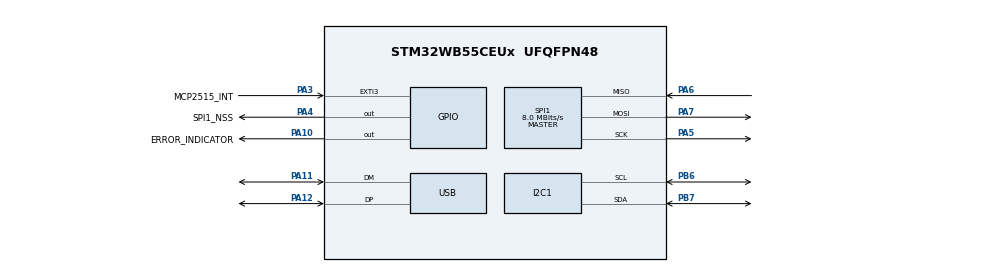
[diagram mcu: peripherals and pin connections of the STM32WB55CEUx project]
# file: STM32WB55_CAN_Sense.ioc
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I2C1.Timing=0x10B17DB5
Mcu.Family=STM32WB
Mcu.Name=STM32WB55CEUx
Mcu.Package=UFQFPN48
NVIC.EXTI3_IRQn=true\:2\:0\:true\:false\:true\:true\:true\:true
NVIC.PriorityGroup=NVIC_PRIORITYGROUP_4
NVIC.TIM1_UP_TIM16_IRQn=true\:0\:0\:false\:false\:true\:true\:true\:true
NVIC.USB_LP_IRQn=true\:0\:0\:false\:false\:true\:false\:true\:true
OSC_IN.Mode=HSE-External-Oscillator
OSC_IN.Signal=RCC_OSC_IN
OSC_OUT.Mode=HSE-External-Oscillator
OSC_OUT.Signal=RCC_OSC_OUT
PA10.GPIO_Label=ERROR_INDICATOR
PA10.Signal=GPIO_Output
PA11.Mode=Device
PA11.Signal=USB_DM
PA12.Mode=Device
PA12.Signal=USB_DP
PA13.Mode=Trace_Asynchronous_SW
PA13.Signal=SYS_JTMS-SWDIO
PA14.Mode=Trace_Asynchronous_SW
PA14.Signal=SYS_JTCK-SWCLK
PA3.GPIO_Label=MCP2515_INT
PA3.GPIO_ModeDefaultEXTI=GPIO_MODE_IT_FALLING
PA3.GPIO_PuPd=GPIO_PULLUP
PA3.Signal=GPXTI3
PA4.GPIO_Label=SPI1_NSS
PA4.Signal=GPIO_Output
PA5.Mode=Full_Duplex_Master
PA5.Signal=SPI1_SCK
PA6.Mode=Full_Duplex_Master
PA6.Signal=SPI1_MISO
PA7.Mode=Full_Duplex_Master
PA7.Signal=SPI1_MOSI
PB3.Mode=Trace_Asynchronous_SW
PB3.Signal=SYS_JTDO-SWO
PB6.Mode=I2C
PB6.Signal=I2C1_SCL
PB7.Mode=I2C
PB7.Signal=I2C1_SDA
ProjectManager.HeapSize=0x200
ProjectManager.StackSize=0x400
ProjectManager.TargetToolchain=STM32CubeIDE
RCC.ADCFreq_Value=48000000
RCC.AHB2CLKDivider=RCC_SYSCLK_DIV2
RCC.AHBFreq_Value=64000000
RCC.APB1Freq_Value=64000000
RCC.APB1TimFreq_Value=64000000
RCC.APB2Freq_Value=64000000
RCC.APB2TimFreq_Value=64000000
RCC.APB3Freq_Value=16000000
RCC.Cortex2_Div=SYSTICK_CLKSOURCE_HCLK_DIV8
RCC.CortexFreq_Value=64000000
RCC.HCLKFreq_Value=64000000
RCC.HSE_VALUE=32000000
RCC.HSI48_VALUE=48000000
RCC.HSI_VALUE=16000000
RCC.LSE_VALUE=32768
RCC.PLLN=32
RCC.PLLSAI1N=24
RCC.SYSCLKFreq_VALUE=64000000
RCC.SYSCLKSource=RCC_SYSCLKSOURCE_PLLCLK
RCC.USBFreq_Value=48000000
RCC.VCOOutputFreq_Value=128000000
SPI1.BaudRatePrescaler=SPI_BAUDRATEPRESCALER_8
SPI1.CRCCalculation=SPI_CRCCALCULATION_DISABLE
SPI1.CalculateBaudRate=8.0 MBits/s
SPI1.DataSize=SPI_DATASIZE_8BIT
SPI1.Direction=SPI_DIRECTION_2LINES
SPI1.FirstBit=SPI_FIRSTBIT_MSB
SPI1.Mode=SPI_MODE_MASTER
SPI1.VirtualType=VM_MASTER
TIM16.AutoReloadPreload=TIM_AUTORELOAD_PRELOAD_ENABLE
TIM16.Period=62500-1
TIM16.Prescaler=1024-1
USB_DEVICE.CLASS_NAME_FS=CDC
USB_DEVICE.VirtualMode=Cdc
USB_DEVICE.VirtualModeFS=Cdc_FS
VP_MEMORYMAP_VS_MEMORYMAP.Mode=CurAppReg
VP_TIM16_VS_ClockSourceINT.Mode=Enable_Timer
VP_USB_DEVICE_VS_USB_DEVICE_CDC_FS.Mode=CDC_FS
board=custom

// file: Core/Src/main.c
/* USER CODE BEGIN Header */
/**
  ******************************************************************************
  * @file           : main.c
  * @brief          : Main program body
  ******************************************************************************
  * @attention
  *
  * Copyright (c) 2025 STMicroelectronics.
  * All rights reserved.
  *
  * This software is licensed under terms that can be found in the LICENSE file
  * in the root directory of this software component.
  * If no LICENSE file comes with this software, it is provided AS-IS.
  *
  ******************************************************************************
  */
/* USER CODE END Header */
#include "main.h"
#include "usb_device.h"

/* USER CODE BEGIN Includes */
#include "usbd_cdc_if.h"
#include <stdio.h>
#include <logger.h>
#include <bme280.h>
#include <mcp2515.h>

/* USER CODE END Includes */

/* USER CODE BEGIN PTD */
struct can_frame_data {
    uint16_t sid;                   // Standard identifier
    uint8_t dlc;                    // Data length code
    uint8_t data[MCP2515_MAXDL];    // Data buffer
};

// Structure for SID_String mapping
struct sid_string_mapping {
	uint16_t sid;		// Standard identifier of the CAN Message
	const char *name;	// Corresponding string
};

/* USER CODE END PTD */

/* USER CODE BEGIN PD */
// SIDs for BME280 sensor values transmitted via MCP2515
#define BME280_TEMPERATURE_SID    25
#define BME280_HUMIDITY_SID       26
#define BME280_PRESSURE_SID       27

/* USER CODE END PD */

I2C_HandleTypeDef hi2c1;

SPI_HandleTypeDef hspi1;

TIM_HandleTypeDef htim16;

/* USER CODE BEGIN PV */
volatile uint8_t tim16_flag = 0; // Timer flag to signal time events; declared volatile to prevent compiler optimization.
BME280 bme280;					 // BME280 instance

// SID Mappings
const struct sid_string_mapping sid_map[] = {
    {BME280_TEMPERATURE_SID, "Temperature"},
    {BME280_PRESSURE_SID, "Pressure"},
    {BME280_HUMIDITY_SID, "Humidity"}
};

/* USER CODE END PV */

void SystemClock_Config(void);
void PeriphCommonClock_Config(void);
static void MX_GPIO_Init(void);
static void MX_I2C1_Init(void);
static void MX_SPI1_Init(void);
static void MX_TIM16_Init(void);
/* USER CODE BEGIN PFP */
int __io_putchar(int ch);	// Redirect printf to ITM (Instrumentation Trace Macrocell)
struct can_frame_data create_can_frame(uint16_t sid, void *data, uint8_t dlc);
uint8_t wait_for_tx2_buffer(uint8_t retries, uint16_t delay_ms);
uint32_t get_timestamp_milliseconds();

/* USER CODE END PFP */

int main(void)
{

  /* MCU Configuration--------------------------------------------------------*/

  /* Reset of all peripherals, Initializes the Flash interface and the Systick. */
  HAL_Init();

  /* Configure the system clock */
  SystemClock_Config();

  /* Configure the peripherals common clocks */
  PeriphCommonClock_Config();

  /* Initialize all configured peripherals */
  MX_GPIO_Init();
  MX_I2C1_Init();
  MX_SPI1_Init();
  MX_TIM16_Init();
  MX_USB_Device_Init();
  /* USER CODE BEGIN 2 */
  uint8_t error_count = 0;
  u8 opmode = 0x00;
  HAL_StatusTypeDef status = HAL_OK;

  // Configure the BME280 Sensor chip
  BME280_cmd_res cmd_res = BME280_init(&bme280, &hi2c1);
  if (cmd_res != BME280_CMD_OK) {
	  LOG_ERROR("Failed to initialize BME280 hardware (status: %d)", cmd_res);
	  HAL_GPIO_WritePin(GPIOA, GPIO_PIN_10, GPIO_PIN_SET);	// indicate error with blue LED on PA10
	  error_count++;
  }

  // Disable external interrupt line (EXTI3) connected to MCP2515 CAN controller
  HAL_NVIC_DisableIRQ(EXTI3_IRQn);

  // Configure the MCP2515 hardware
  status = mcp2515_reset_hw(&hspi1);
  if (status != HAL_OK) {
	  LOG_ERROR("Failed to reset MCP2515 hardware (status: %d)", status);
	  HAL_GPIO_WritePin(GPIOA, GPIO_PIN_10, GPIO_PIN_SET);	// indicate error with blue LED on PA10
	  error_count++;
  }

  status = mcp2515_config_hw(&hspi1);
  if (status != HAL_OK) {
	  LOG_ERROR("Failed to configure MCP2515 hardware (status: %d)", status);
	  HAL_GPIO_WritePin(GPIOA, GPIO_PIN_10, GPIO_PIN_SET);	// indicate error with blue LED on PA10
	  error_count++;
  }

  status = mcp2515_set_opmode(&hspi1, MCP2515_NORMAL_MODE);
  if (status != HAL_OK) {
	  LOG_ERROR("Failed to set MCP2515 into loop-back operation mode (status: %d)", status);
	  HAL_GPIO_WritePin(GPIOA, GPIO_PIN_10, GPIO_PIN_SET);	// indicate error with blue LED on PA10
	  error_count++;
  }

  status = mcp2515_get_opmode(&hspi1, &opmode);
  if (status != HAL_OK) {
	  LOG_ERROR("Failed to read current MCP2515 operation mode (status: %d)", status);
	  HAL_GPIO_WritePin(GPIOA, GPIO_PIN_10, GPIO_PIN_SET);	// indicate error with blue LED on PA10
	  error_count++;
  }
  else {
	  LOG_INFO("Device is in %s", get_opmode_string(opmode));
  }

  // Enable external interrupt line (EXTI3) connected to MCP2515 CAN controller
  HAL_NVIC_EnableIRQ(EXTI3_IRQn);

  // Start the timer16
  HAL_TIM_Base_Start_IT(&htim16);

  /* USER CODE END 2 */

  /* Infinite loop */
  /* USER CODE BEGIN WHILE */
  struct can_frame_data can_frames[3];

  while ((status == HAL_OK) && (error_count == 0))
  {
	  if (tim16_flag) {

		  //uint32_t timestamp = get_timestamp_milliseconds();
		  //LOG_INFO("Timestamp: %lu ms", timestamp);

		  // Disable the update interrupt for TIM16
		  __HAL_TIM_DISABLE_IT(&htim16, TIM_IT_UPDATE);

		  // Read environmental (temperature, humidity, pressure) data from the sensor
		  BME280_cmd_res cmd_res = BME280_read_env_data(&bme280);
		  if (cmd_res != BME280_CMD_OK) {
			  HAL_GPIO_WritePin(GPIOA, GPIO_PIN_10, GPIO_PIN_SET); // Indicate error with blue LED on PA10
			  error_count++;
		  }

		  // Convert integer values to float
		  float temp_deg = (float)bme280.T / (float)kT;  // Temperature in degrees
		  float hum_prh = (float)bme280.H / (float)kH;   // Relative Humidity in percent
		  float pres_pa = (float)bme280.P / (float)kP;  // Pressure in pascals

		  // Log the values
		  LOG_INFO("Temperature: %.1f °C", temp_deg);  // One decimal precision
		  LOG_INFO("Humidity: %.1f %%", hum_prh);      // One decimal precision
		  LOG_INFO("Pressure: %.1f Pa", pres_pa);     // One decimal precision

		  // Create CAN frame
		  can_frames[0] = create_can_frame(BME280_TEMPERATURE_SID, &temp_deg, sizeof(temp_deg));
		  can_frames[1] = create_can_frame(BME280_HUMIDITY_SID, &hum_prh, sizeof(hum_prh));
		  can_frames[2] = create_can_frame(BME280_PRESSURE_SID, &pres_pa, sizeof(pres_pa));

		  // Send CAN fames
		  for (int i = 0; i < sizeof(can_frames)/sizeof(can_frames[0]); i++) {
			  uint8_t retries = 3;
			  uint16_t delay_ms = 10;
			  struct can_frame_data frame = can_frames[i];

			  // Wait until the TX buffer is ready to accept new data
			  if (!wait_for_tx2_buffer(retries, delay_ms)) {
				  LOG_ERROR("Transmission buffer 2 not ready after %d retries", retries);
			      HAL_GPIO_WritePin(GPIOA, GPIO_PIN_10, GPIO_PIN_SET); // Indicate error with blue LED on PA10
			      error_count++;
			      continue; // Skip the current frame
			  }

			  // Send the CAN frame
			  status = mcp2515_write_can_frame(&hspi1, frame.sid, frame.data, frame.dlc);
			  if (status != HAL_OK) {
				  LOG_ERROR("Failed to write %s CAN frame (status: %d)", sid_map[frame.sid], status);
				  HAL_GPIO_WritePin(GPIOA, GPIO_PIN_10, GPIO_PIN_SET); // Indicate error with blue LED on PA10
				  error_count++;
			  }
		  }

		  tim16_flag = 0; // Reset the timer flag

		  // Re-enable the update interrupt for TIM16
		  __HAL_TIM_ENABLE_IT(&htim16, TIM_IT_UPDATE);
		}

    /* USER CODE END WHILE */

    /* USER CODE BEGIN 3 */
  }
  LOG_ERROR("Error count: %u", error_count);
  LOG_ERROR("Exiting...");
  /* USER CODE END 3 */
}

void SystemClock_Config(void)
{
  RCC_OscInitTypeDef RCC_OscInitStruct = {0};
  RCC_ClkInitTypeDef RCC_ClkInitStruct = {0};

  /** Configure the main internal regulator output voltage
  */
  __HAL_PWR_VOLTAGESCALING_CONFIG(PWR_REGULATOR_VOLTAGE_SCALE1);

  /** Initializes the RCC Oscillators according to the specified parameters
  * in the RCC_OscInitTypeDef structure.
  */
  RCC_OscInitStruct.OscillatorType = RCC_OSCILLATORTYPE_HSI|RCC_OSCILLATORTYPE_HSE
                              |RCC_OSCILLATORTYPE_LSE|RCC_OSCILLATORTYPE_MSI;
  RCC_OscInitStruct.HSEState = RCC_HSE_ON;
  RCC_OscInitStruct.LSEState = RCC_LSE_OFF;
  RCC_OscInitStruct.HSIState = RCC_HSI_ON;
  RCC_OscInitStruct.MSIState = RCC_MSI_ON;
  RCC_OscInitStruct.HSICalibrationValue = RCC_HSICALIBRATION_DEFAULT;
  RCC_OscInitStruct.MSICalibrationValue = RCC_MSICALIBRATION_DEFAULT;
  RCC_OscInitStruct.MSIClockRange = RCC_MSIRANGE_6;
  RCC_OscInitStruct.PLL.PLLState = RCC_PLL_ON;
  RCC_OscInitStruct.PLL.PLLSource = RCC_PLLSOURCE_MSI;
  RCC_OscInitStruct.PLL.PLLM = RCC_PLLM_DIV1;
  RCC_OscInitStruct.PLL.PLLN = 32;
  RCC_OscInitStruct.PLL.PLLP = RCC_PLLP_DIV2;
  RCC_OscInitStruct.PLL.PLLR = RCC_PLLR_DIV2;
  RCC_OscInitStruct.PLL.PLLQ = RCC_PLLQ_DIV2;
  if (HAL_RCC_OscConfig(&RCC_OscInitStruct) != HAL_OK)
  {
    Error_Handler();
  }

  /** Configure the SYSCLKSource, HCLK, PCLK1 and PCLK2 clocks dividers
  */
  RCC_ClkInitStruct.ClockType = RCC_CLOCKTYPE_HCLK4|RCC_CLOCKTYPE_HCLK2
                              |RCC_CLOCKTYPE_HCLK|RCC_CLOCKTYPE_SYSCLK
                              |RCC_CLOCKTYPE_PCLK1|RCC_CLOCKTYPE_PCLK2;
  RCC_ClkInitStruct.SYSCLKSource = RCC_SYSCLKSOURCE_PLLCLK;
  RCC_ClkInitStruct.AHBCLKDivider = RCC_SYSCLK_DIV1;
  RCC_ClkInitStruct.APB1CLKDivider = RCC_HCLK_DIV1;
  RCC_ClkInitStruct.APB2CLKDivider = RCC_HCLK_DIV1;
  RCC_ClkInitStruct.AHBCLK2Divider = RCC_SYSCLK_DIV2;
  RCC_ClkInitStruct.AHBCLK4Divider = RCC_SYSCLK_DIV1;

  if (HAL_RCC_ClockConfig(&RCC_ClkInitStruct, FLASH_LATENCY_3) != HAL_OK)
  {
    Error_Handler();
  }

  /** Enable MSI Auto calibration
  */
  HAL_RCCEx_EnableMSIPLLMode();
}

void PeriphCommonClock_Config(void)
{
  RCC_PeriphCLKInitTypeDef PeriphClkInitStruct = {0};

  /** Initializes the peripherals clock
  */
  PeriphClkInitStruct.PeriphClockSelection = RCC_PERIPHCLK_SMPS;
  PeriphClkInitStruct.SmpsClockSelection = RCC_SMPSCLKSOURCE_HSI;
  PeriphClkInitStruct.SmpsDivSelection = RCC_SMPSCLKDIV_RANGE1;

  if (HAL_RCCEx_PeriphCLKConfig(&PeriphClkInitStruct) != HAL_OK)
  {
    Error_Handler();
  }
}

static void MX_I2C1_Init(void)
{

  hi2c1.Instance = I2C1;
  hi2c1.Init.Timing = 0x10B17DB5;
  hi2c1.Init.OwnAddress1 = 0;
  hi2c1.Init.AddressingMode = I2C_ADDRESSINGMODE_7BIT;
  hi2c1.Init.DualAddressMode = I2C_DUALADDRESS_DISABLE;
  hi2c1.Init.OwnAddress2 = 0;
  hi2c1.Init.OwnAddress2Masks = I2C_OA2_NOMASK;
  hi2c1.Init.GeneralCallMode = I2C_GENERALCALL_DISABLE;
  hi2c1.Init.NoStretchMode = I2C_NOSTRETCH_DISABLE;
  if (HAL_I2C_Init(&hi2c1) != HAL_OK)
  {
    Error_Handler();
  }

  /** Configure Analogue filter
  */
  if (HAL_I2CEx_ConfigAnalogFilter(&hi2c1, I2C_ANALOGFILTER_ENABLE) != HAL_OK)
  {
    Error_Handler();
  }

  /** Configure Digital filter
  */
  if (HAL_I2CEx_ConfigDigitalFilter(&hi2c1, 0) != HAL_OK)
  {
    Error_Handler();
  }

}

static void MX_SPI1_Init(void)
{

  /* SPI1 parameter configuration*/
  hspi1.Instance = SPI1;
  hspi1.Init.Mode = SPI_MODE_MASTER;
  hspi1.Init.Direction = SPI_DIRECTION_2LINES;
  hspi1.Init.DataSize = SPI_DATASIZE_8BIT;
  hspi1.Init.CLKPolarity = SPI_POLARITY_LOW;
  hspi1.Init.CLKPhase = SPI_PHASE_1EDGE;
  hspi1.Init.NSS = SPI_NSS_SOFT;
  hspi1.Init.BaudRatePrescaler = SPI_BAUDRATEPRESCALER_8;
  hspi1.Init.FirstBit = SPI_FIRSTBIT_MSB;
  hspi1.Init.TIMode = SPI_TIMODE_DISABLE;
  hspi1.Init.CRCCalculation = SPI_CRCCALCULATION_DISABLE;
  hspi1.Init.CRCPolynomial = 7;
  hspi1.Init.CRCLength = SPI_CRC_LENGTH_DATASIZE;
  hspi1.Init.NSSPMode = SPI_NSS_PULSE_ENABLE;
  if (HAL_SPI_Init(&hspi1) != HAL_OK)
  {
    Error_Handler();
  }

}

static void MX_TIM16_Init(void)
{

  htim16.Instance = TIM16;
  htim16.Init.Prescaler = 1024-1;
  htim16.Init.CounterMode = TIM_COUNTERMODE_UP;
  htim16.Init.Period = 62500-1;
  htim16.Init.ClockDivision = TIM_CLOCKDIVISION_DIV1;
  htim16.Init.RepetitionCounter = 0;
  htim16.Init.AutoReloadPreload = TIM_AUTORELOAD_PRELOAD_ENABLE;
  if (HAL_TIM_Base_Init(&htim16) != HAL_OK)
  {
    Error_Handler();
  }

}

static void MX_GPIO_Init(void)
{
  GPIO_InitTypeDef GPIO_InitStruct = {0};

  /* GPIO Ports Clock Enable */
  __HAL_RCC_GPIOA_CLK_ENABLE();
  __HAL_RCC_GPIOB_CLK_ENABLE();

  /*Configure GPIO pin Output Level */
  HAL_GPIO_WritePin(GPIOA, SPI1_NSS_Pin|ERROR_INDICATOR_Pin, GPIO_PIN_RESET);

  /*Configure GPIO pin : MCP2515_INT_Pin */
  GPIO_InitStruct.Pin = MCP2515_INT_Pin;
  GPIO_InitStruct.Mode = GPIO_MODE_IT_FALLING;
  GPIO_InitStruct.Pull = GPIO_PULLUP;
  HAL_GPIO_Init(MCP2515_INT_GPIO_Port, &GPIO_InitStruct);

  /*Configure GPIO pins : SPI1_NSS_Pin ERROR_INDICATOR_Pin */
  GPIO_InitStruct.Pin = SPI1_NSS_Pin|ERROR_INDICATOR_Pin;
  GPIO_InitStruct.Mode = GPIO_MODE_OUTPUT_PP;
  GPIO_InitStruct.Pull = GPIO_NOPULL;
  GPIO_InitStruct.Speed = GPIO_SPEED_FREQ_LOW;
  HAL_GPIO_Init(GPIOA, &GPIO_InitStruct);

  /* EXTI interrupt init*/
  HAL_NVIC_SetPriority(EXTI3_IRQn, 2, 0);
  HAL_NVIC_EnableIRQ(EXTI3_IRQn);

}

/* USER CODE BEGIN 4 */

// Timer16 callback
void HAL_TIM_PeriodElapsedCallback(TIM_HandleTypeDef *htim)
{
	// Check which version of the timer triggered this callback
	if (htim == &htim16 )
	{
		tim16_flag = 1;
	}
}

void HAL_GPIO_EXTI_Callback(uint16_t GPIO_Pin)
{
	if (GPIO_Pin == MCP2515_INT_Pin) {

		HAL_StatusTypeDef status = HAL_OK;
		u8 canintf = 0x00;

		// Read MCP2515 interrupt flag register
		status = mcp2515_read_reg(&hspi1, MCP2515_CANINTF, &canintf);
		if (status != HAL_OK) {
			LOG_ERROR("Failed to read interrupt flag register (status: %d)", status);
			HAL_GPIO_WritePin(GPIOA, GPIO_PIN_10, GPIO_PIN_SET);	// Indicate error with LED on PA10
			return;
		}

		// Process the interrupts
		for (int i = 0; i < IRQ_TABLE_SIZE; i++) {
			if (canintf & irq_table[i].flag) {
				status = irq_table[i].handler(&hspi1);
				if (status != HAL_OK) {
					LOG_ERROR("Failed to handle interrupt (flag: 0x%X, index: %d, status: %d)", irq_table[i].flag, i, status);
					HAL_GPIO_WritePin(GPIOA, GPIO_PIN_10, GPIO_PIN_SET);	// Indicate error with LED on PA10
				}
			}
		}
	}
}

// Redirect printf to ITM (Instrumentation Trace Macrocell)
int __io_putchar(int ch) {
    ITM_SendChar(ch); // Send character to SWO
    return ch;
}

struct can_frame_data create_can_frame(uint16_t sid, void *data,  uint8_t dlc)
{
	 if (dlc > MCP2515_MAXDL) {
		 dlc = MCP2515_MAXDL; // Cap the length to avoid buffer overflows
	 }

	 struct can_frame_data frame;
	 frame.sid = sid;
	 frame.dlc = dlc;
	 memcpy(frame.data, (uint8_t *)data, frame.dlc);

	 return frame;
}

uint8_t wait_for_tx2_buffer(uint8_t retries, uint16_t delay_ms)
{
	while (retries-- > 0) {
		if (is_tx2_buf_ready()) {
			return 1;	 // TX buffer 2 is ready
		}
		HAL_Delay(delay_ms);	// Wait for buffer
	}

	return 0;	// // TX buffer 2 not ready after retries
}

uint32_t get_timestamp_milliseconds() {
    // Use HAL_GetTick() to get the system uptime in milliseconds
    uint32_t milliseconds = HAL_GetTick();
    return milliseconds;
}

/* USER CODE END 4 */

void Error_Handler(void)
{
  __disable_irq();
  while (1)
  {
  }
}
